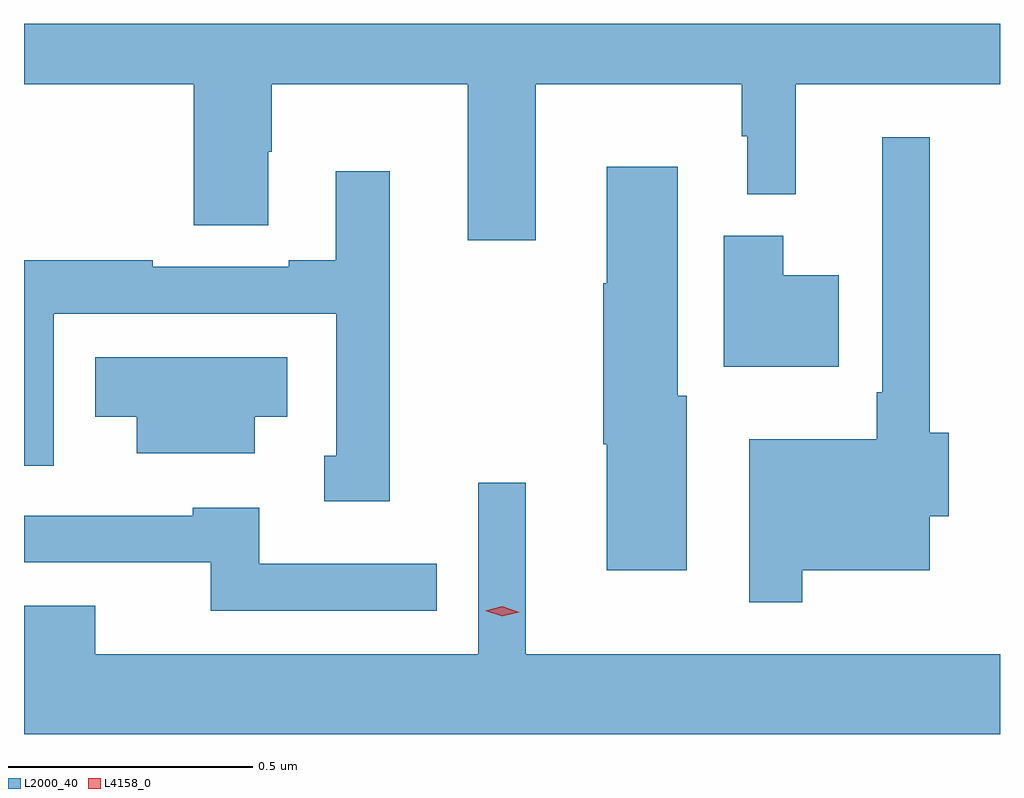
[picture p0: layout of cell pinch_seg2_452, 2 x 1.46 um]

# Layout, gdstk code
import gdstk
lib = gdstk.Library(unit=1e-6, precision=1e-09)
def P(c, l, *ps):  # polygons
    for p in ps: c.add(gdstk.Polygon(p, *l))
L2000_40 = (2000, 40)
L4158_0 = (4158, 0)

pinch_seg2_452 = lib.new_cell('pinch_seg2_452')
P(pinch_seg2_452, L2000_40, [(906.673,619.664),(907.095,619.664),(907.095,619.557),(907.106,619.557),(907.106,619.439),(907.205,619.439),(907.205,619.664),(907.624,619.664),(907.624,619.788),(905.624,619.788),(905.624,619.664),(905.972,619.664),(905.972,619.375),(906.124,619.375),(906.124,619.526),(906.132,619.526),(906.132,619.664),(906.533,619.664),(906.533,619.344),(906.673,619.344)],
  [(907.219,618.668),(907.48,618.668),(907.48,618.779),(907.519,618.779),(907.519,618.95),(907.48,618.95),(907.48,619.555),(907.383,619.555),(907.383,619.033),(907.371,619.033),(907.371,618.937),(907.11,618.937),(907.11,618.603),(907.219,618.603)],
  [(906.982,619.026),(906.964,619.026),(906.964,619.495),(906.818,619.495),(906.818,619.256),(906.811,619.256),(906.811,618.926),(906.818,618.926),(906.818,618.668),(906.982,618.668)],
  [(906.373,619.486),(906.263,619.486),(906.263,619.303),(906.167,619.303),(906.167,619.29),(905.888,619.29),(905.888,619.303),(905.624,619.303),(905.624,618.882),(905.685,618.882),(905.685,619.194),(906.264,619.194),(906.264,618.903),(906.239,618.903),(906.239,618.809),(906.373,618.809)],
  [(907.294,619.273),(907.18,619.273),(907.18,619.354),(907.058,619.354),(907.058,619.085),(907.294,619.085)],
  [(906.097,618.983),(906.163,618.983),(906.163,619.105),(905.77,619.105),(905.77,618.983),(905.855,618.983),(905.855,618.908),(906.097,618.908)],
  [(907.624,618.496),(906.652,618.496),(906.652,618.847),(906.555,618.847),(906.555,618.496),(905.77,618.496),(905.77,618.595),(905.624,618.595),(905.624,618.332),(907.624,618.332)],
  [(906.47,618.681),(906.106,618.681),(906.106,618.796),(905.97,618.796),(905.97,618.78),(905.624,618.78),(905.624,618.684),(906.007,618.684),(906.007,618.585),(906.47,618.585)])
P(pinch_seg2_452, L4158_0, [(906.604,618.574),(906.569,618.585),(906.569,618.585),(906.569,618.585),(906.604,618.594),(906.639,618.582),(906.639,618.582),(906.639,618.582)])

lib.write_gds('pinch_seg2_452.gds')
